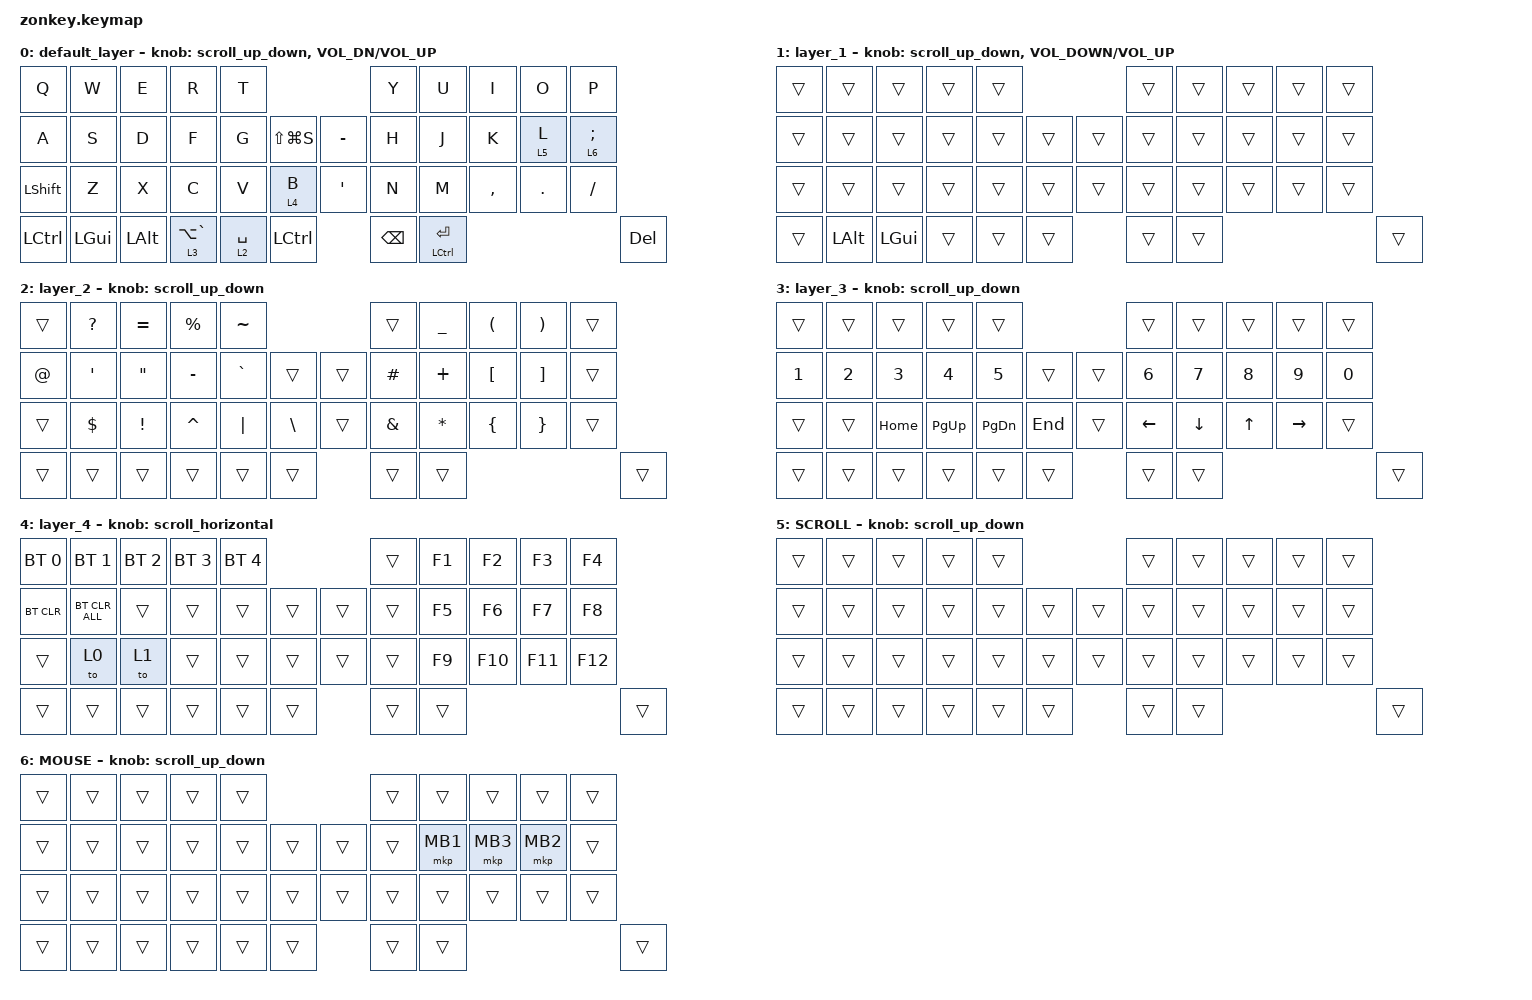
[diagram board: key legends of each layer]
#include <behaviors.dtsi>
#include <dt-bindings/zmk/bt.h>
#include <dt-bindings/zmk/keys.h>
#include <dt-bindings/zmk/pointing.h>

#define ZMK_POINTING_DEFAULT_SCRL_VAL 100
#define MOUSE 6

&mt {
    flavor = "balanced";
    quick-tap-ms = <0>;
};

/ {
    combos {
        compatible = "zmk,combos";

        combo_tab {
            bindings = <&kp TAB>;
            key-positions = <0 1>;
        };

        combo_esc {
            bindings = <&kp ESC>;
            key-positions = <10 11>;
        };

        combo_lclk {
            bindings = <&mkp LCLK>;
            key-positions = <18 19>;
        };

        combo_rclk {
            bindings = <&mkp RCLK>;
            key-positions = <19 20>;
        };

        combo_mclk {
            bindings = <&mkp MCLK>;
            key-positions = <18 20>;
        };

        combo_hanzen {
            bindings = <&kp LA(GRAVE)>;
            key-positions = <24 25>;
        };
    };

    macros {
        to_layer_0: to_layer_0 {
            compatible = "zmk,behavior-macro-one-param";
            #binding-cells = <1>;
            bindings = <&to 0 &macro_param_1to1 &kp MACRO_PLACEHOLDER>;
            label = "TO_LAYER_0";
        };
    };

    behaviors {
        lt_to_layer_0: lt_to_layer_0 {
            compatible = "zmk,behavior-hold-tap";
            label = "LAYER_TAP_TO_0";
            bindings = <&mo>, <&to_layer_0>;

            #binding-cells = <2>;
            tapping-term-ms = <200>;
        };

        scroll_up_down: behavior_sensor_rotate_mouse_wheel_up_down {
            compatible = "zmk,behavior-sensor-rotate";
            #sensor-binding-cells = <0>;
            bindings = <&msc SCRL_DOWN>, <&msc SCRL_UP>;

            tap-ms = <20>;
        };

        scroll_horizontal: behavior_mouse_wheel_horizontal {
            compatible = "zmk,behavior-sensor-rotate";
            label = "BEHAVIOR_MOUSE_WHEEL_HORIZONTAL";
            #sensor-binding-cells = <0>;
            bindings = <&msc SCRL_RIGHT>, <&msc SCRL_LEFT>;

            tap-ms = <20>;
        };
    };

    keymap {
        compatible = "zmk,keymap";

        default_layer {
            bindings = <
&kp Q      &kp W     &kp E     &kp R            &kp T                                    &kp Y     &kp U            &kp I      &kp O    &kp P
&kp A      &kp S     &kp D     &kp F            &kp G        &kp LS(LG(S))    &kp MINUS  &kp H     &kp J            &kp K      &lt 5 L  &lt 6 SEMI
&kp LSHFT  &kp Z     &kp X     &kp C            &kp V        &lt 4 B          &kp APOS   &kp N     &kp M            &kp COMMA  &kp DOT  &kp FSLH
&kp LCTRL  &kp LGUI  &kp LALT  &lt 3 LA(GRAVE)  &lt 2 SPACE  &kp LCTRL                   &kp BSPC  &mt LCTRL ENTER                                  &kp DEL
            >;

            sensor-bindings =
                <&scroll_up_down>,
                <&inc_dec_kp C_VOL_DN C_VOL_UP>;
        };

        layer_1 {
            bindings = <
&trans  &trans    &trans    &trans  &trans                    &trans  &trans  &trans  &trans  &trans
&trans  &trans    &trans    &trans  &trans  &trans    &trans  &trans  &trans  &trans  &trans  &trans
&trans  &trans    &trans    &trans  &trans  &trans    &trans  &trans  &trans  &trans  &trans  &trans
&trans  &kp LALT  &kp LGUI  &trans  &trans  &trans            &trans  &trans                          &trans
            >;

            sensor-bindings =
                <&scroll_up_down>,
                <&inc_dec_kp C_VOLUME_DOWN C_VOLUME_UP>;
        };

        layer_2 {
            bindings = <
&trans       &kp QUESTION    &kp EQUAL          &kp PERCENT  &kp TILDE                           &trans         &kp UNDERSCORE  &kp LEFT_PARENTHESIS  &kp RIGHT_PARENTHESIS  &trans
&kp AT_SIGN  &kp APOSTROPHE  &kp DOUBLE_QUOTES  &kp MINUS    &kp GRAVE  &trans           &trans  &kp HASH       &kp PLUS        &kp LEFT_BRACKET      &kp RIGHT_BRACKET      &trans
&trans       &kp DLLR        &kp EXCLAMATION    &kp CARET    &kp PIPE   &kp BACKSLASH    &trans  &kp AMPERSAND  &kp ASTERISK    &kp LEFT_BRACE        &kp RIGHT_BRACE        &trans
&trans       &trans          &trans             &trans       &trans     &trans                   &trans         &trans                                                               &trans
            >;

            sensor-bindings = <&scroll_up_down>;
        };

        layer_3 {
            bindings = <
&trans  &trans  &trans    &trans       &trans                            &trans          &trans          &trans        &trans           &trans
&kp N1  &kp N2  &kp N3    &kp N4       &kp N5         &trans     &trans  &kp N6          &kp N7          &kp N8        &kp N9           &kp N0
&trans  &trans  &kp HOME  &kp PAGE_UP  &kp PAGE_DOWN  &kp END    &trans  &kp LEFT_ARROW  &kp DOWN_ARROW  &kp UP_ARROW  &kp RIGHT_ARROW  &trans
&trans  &trans  &trans    &trans       &trans         &trans             &trans          &trans                                                 &trans
            >;

            sensor-bindings = <&scroll_up_down>;
        };

        layer_4 {
            bindings = <
&bt BT_SEL 0  &bt BT_SEL 1    &bt BT_SEL 2  &bt BT_SEL 3  &bt BT_SEL 4                    &trans  &kp F1  &kp F2   &kp F3   &kp F4
&bt BT_CLR    &bt BT_CLR_ALL  &trans        &trans        &trans        &trans    &trans  &trans  &kp F5  &kp F6   &kp F7   &kp F8
&trans        &to 0           &to 1         &trans        &trans        &trans    &trans  &trans  &kp F9  &kp F10  &kp F11  &kp F12
&trans        &trans          &trans        &trans        &trans        &trans            &trans  &trans                             &trans
            >;

            sensor-bindings = <&scroll_horizontal>;
        };

        SCROLL {
            bindings = <
&trans  &trans  &trans  &trans  &trans                    &trans  &trans  &trans  &trans  &trans
&trans  &trans  &trans  &trans  &trans  &trans    &trans  &trans  &trans  &trans  &trans  &trans
&trans  &trans  &trans  &trans  &trans  &trans    &trans  &trans  &trans  &trans  &trans  &trans
&trans  &trans  &trans  &trans  &trans  &trans            &trans  &trans                          &trans
            >;

            sensor-bindings = <&scroll_up_down>;
        };

        MOUSE {
            bindings = <
&trans  &trans  &trans  &trans  &trans                    &trans  &trans    &trans    &trans    &trans
&trans  &trans  &trans  &trans  &trans  &trans    &trans  &trans  &mkp MB1  &mkp MB3  &mkp MB2  &trans
&trans  &trans  &trans  &trans  &trans  &trans    &trans  &trans  &trans    &trans    &trans    &trans
&trans  &trans  &trans  &trans  &trans  &trans            &trans  &trans                                &trans
            >;

            sensor-bindings = <&scroll_up_down>;
        };
    };
};
